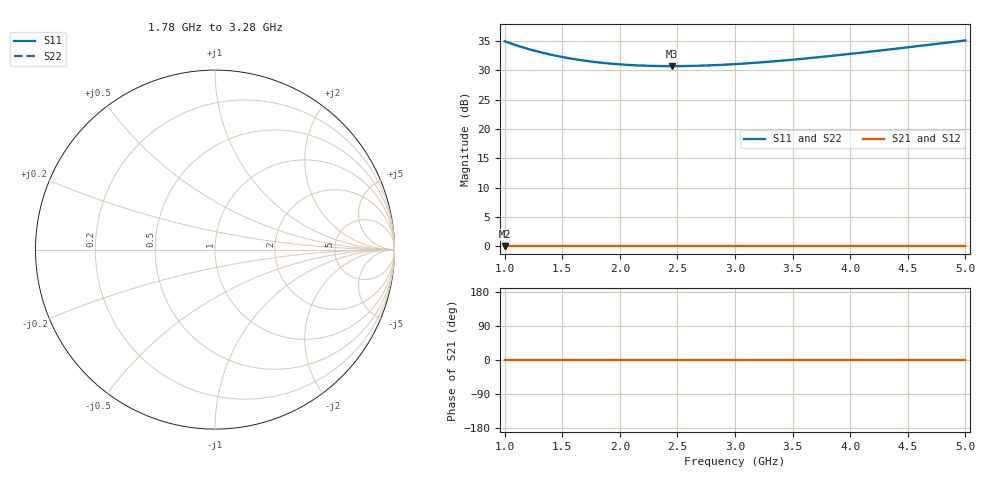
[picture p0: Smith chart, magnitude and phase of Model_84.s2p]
# GHZ S RI R 50
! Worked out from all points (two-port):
!   401 points, 1 GHz to 5 GHz, reference 50 ohm
!   highest |S21| = 0.00 dB at 1 GHz (marker M1); lowest = 0.0 dB at 1 GHz (marker M2)
!   |S21| within 3 dB of the highest: start of sweep to end of sweep
!   lowest |S11| = 30.7 dB at 2.45 GHz (marker M3)
!   |S11| at or under -10 dB: nowhere
!   |S22| runs from 30.7 to 35.1 dB; largest |S21 - S12| = 0
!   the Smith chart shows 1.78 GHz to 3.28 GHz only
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1  56.12 0  1 0  1 0  56.12 0
1.02  55.17 0  1 0  1 0  55.17 0
1.15  49.95 0  1 0  1 0  49.95 0
1.22  47.67 0  1 0  1 0  47.67 0
1.3  45.42 0  1 0  1 0  45.42 0
1.38  43.49 0  1 0  1 0  43.49 0
1.47  41.65 0  1 0  1 0  41.65 0
1.57  39.95 0  1 0  1 0  39.95 0
1.67  38.55 0  1 0  1 0  38.55 0
1.82  36.92 0  1 0  1 0  36.92 0
1.98  35.7 0  1 0  1 0  35.7 0
2.15  34.87 0  1 0  1 0  34.87 0
2.34  34.41 0  1 0  1 0  34.41 0
2.45  34.35 0  1 0  1 0  34.35 0
2.72  34.7 0  1 0  1 0  34.7 0
3  35.74 0  1 0  1 0  35.74 0
3.33  37.69 0  1 0  1 0  37.69 0
3.67  40.43 0  1 0  1 0  40.43 0
4  43.71 0  1 0  1 0  43.71 0
4.34  47.67 0  1 0  1 0  47.67 0
4.64  51.62 0  1 0  1 0  51.62 0
5  56.9 0  1 0  1 0  56.9 0
